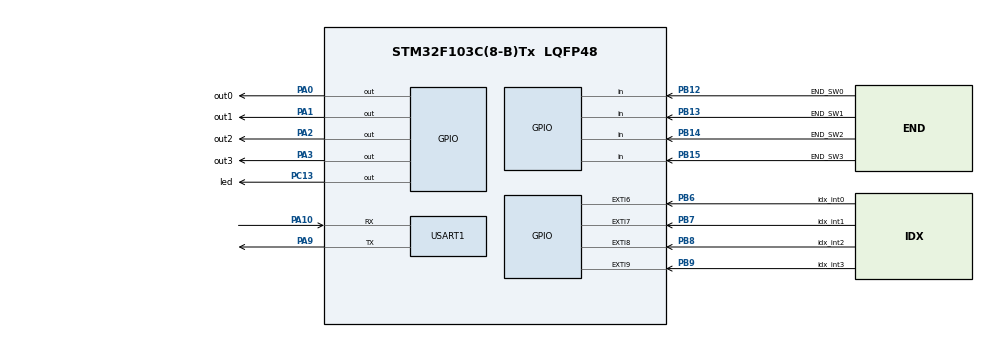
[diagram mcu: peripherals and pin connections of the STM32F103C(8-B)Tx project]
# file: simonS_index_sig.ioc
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Mcu.Family=STM32F1
Mcu.Name=STM32F103C(8-B)Tx
Mcu.Package=LQFP48
Mcu.UserConstants=TIM2_CNT,99
NVIC.EXTI9_5_IRQn=true\:0\:0\:false\:false\:true\:true\:true
NVIC.PriorityGroup=NVIC_PRIORITYGROUP_4
NVIC.TIM2_IRQn=true\:0\:0\:false\:false\:true\:true\:true
NVIC.USART1_IRQn=true\:0\:0\:false\:false\:true\:true\:true
PA0-WKUP.GPIO_Label=out0
PA0-WKUP.Signal=GPIO_Output
PA1.GPIO_Label=out1
PA1.Signal=GPIO_Output
PA10.Mode=Asynchronous
PA10.Signal=USART1_RX
PA13.Mode=Serial_Wire
PA13.Signal=SYS_JTMS-SWDIO
PA14.Mode=Serial_Wire
PA14.Signal=SYS_JTCK-SWCLK
PA2.GPIO_Label=out2
PA2.Signal=GPIO_Output
PA3.GPIO_Label=out3
PA3.Signal=GPIO_Output
PA9.Mode=Asynchronous
PA9.Signal=USART1_TX
PB12.GPIO_Label=END_SW0
PB12.GPIO_PuPd=GPIO_PULLUP
PB12.Signal=GPIO_Input
PB13.GPIO_Label=END_SW1
PB13.GPIO_PuPd=GPIO_PULLUP
PB13.Signal=GPIO_Input
PB14.GPIO_Label=END_SW2
PB14.GPIO_PuPd=GPIO_PULLUP
PB14.Signal=GPIO_Input
PB15.GPIO_Label=END_SW3
PB15.GPIO_PuPd=GPIO_PULLUP
PB15.Signal=GPIO_Input
PB6.GPIO_Label=idx_int0
PB6.GPIO_ModeDefaultEXTI=GPIO_MODE_IT_FALLING
PB6.GPIO_PuPd=GPIO_PULLUP
PB6.Signal=GPXTI6
PB7.GPIO_Label=idx_int1
PB7.GPIO_ModeDefaultEXTI=GPIO_MODE_IT_FALLING
PB7.GPIO_PuPd=GPIO_PULLUP
PB7.Signal=GPXTI7
PB8.GPIO_Label=idx_int2
PB8.GPIO_ModeDefaultEXTI=GPIO_MODE_IT_FALLING
PB8.GPIO_PuPd=GPIO_PULLUP
PB8.Signal=GPXTI8
PB9.GPIO_Label=idx_int3
PB9.GPIO_ModeDefaultEXTI=GPIO_MODE_IT_FALLING
PB9.GPIO_PuPd=GPIO_PULLUP
PB9.Signal=GPXTI9
PC13-TAMPER-RTC.GPIO_Label=led
PC13-TAMPER-RTC.GPIO_ModeDefaultOutputPP=GPIO_MODE_OUTPUT_OD
PC13-TAMPER-RTC.Signal=GPIO_Output
PD0-OSC_IN.Mode=HSE-External-Oscillator
PD0-OSC_IN.Signal=RCC_OSC_IN
PD1-OSC_OUT.Mode=HSE-External-Oscillator
PD1-OSC_OUT.Signal=RCC_OSC_OUT
ProjectManager.HeapSize=0x200
ProjectManager.StackSize=0x400
ProjectManager.TargetToolchain=TrueSTUDIO
RCC.APB1Freq_Value=8000000
RCC.APB2Freq_Value=8000000
RCC.SYSCLKSource=RCC_SYSCLKSOURCE_HSE
TIM2.AutoReloadPreload=TIM_AUTORELOAD_PRELOAD_ENABLE
TIM2.Period=TIM2_CNT
TIM2.Prescaler=7
USART1.VirtualMode=VM_ASYNC
VP_TIM2_VS_ClockSourceINT.Mode=Internal
board=custom

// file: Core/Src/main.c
/* USER CODE BEGIN Header */
/**
  ******************************************************************************
  * @file           : main.c
  * @brief          : Main program body
  ******************************************************************************
  ** This notice applies to any and all portions of this file
  * that are not between comment pairs USER CODE BEGIN and
  * USER CODE END. Other portions of this file, whether
  * inserted by the user or by software development tools
  * are owned by their respective copyright owners.
  *
  * COPYRIGHT(c) 2019 STMicroelectronics
  *
  * Redistribution and use in source and binary forms, with or without modification,
  * are permitted provided that the following conditions are met:
  *   1. Redistributions of source code must retain the above copyright notice,
  *      this list of conditions and the following disclaimer.
  *   2. Redistributions in binary form must reproduce the above copyright notice,
  *      this list of conditions and the following disclaimer in the documentation
  *      and/or other materials provided with the distribution.
  *   3. Neither the name of STMicroelectronics nor the names of its contributors
  *      may be used to endorse or promote products derived from this software
  *      without specific prior written permission.
  *
  * THIS SOFTWARE IS PROVIDED BY THE COPYRIGHT HOLDERS AND CONTRIBUTORS "AS IS"
  * AND ANY EXPRESS OR IMPLIED WARRANTIES, INCLUDING, BUT NOT LIMITED TO, THE
  * IMPLIED WARRANTIES OF MERCHANTABILITY AND FITNESS FOR A PARTICULAR PURPOSE ARE
  * DISCLAIMED. IN NO EVENT SHALL THE COPYRIGHT HOLDER OR CONTRIBUTORS BE LIABLE
  * FOR ANY DIRECT, INDIRECT, INCIDENTAL, SPECIAL, EXEMPLARY, OR CONSEQUENTIAL
  * DAMAGES (INCLUDING, BUT NOT LIMITED TO, PROCUREMENT OF SUBSTITUTE GOODS OR
  * SERVICES; LOSS OF USE, DATA, OR PROFITS; OR BUSINESS INTERRUPTION) HOWEVER
  * CAUSED AND ON ANY THEORY OF LIABILITY, WHETHER IN CONTRACT, STRICT LIABILITY,
  * OR TORT (INCLUDING NEGLIGENCE OR OTHERWISE) ARISING IN ANY WAY OUT OF THE USE
  * OF THIS SOFTWARE, EVEN IF ADVISED OF THE POSSIBILITY OF SUCH DAMAGE.
  *
  ******************************************************************************
  */
/* USER CODE END Header */

#include "main.h"
#include "tim.h"
#include "usart.h"
#include "gpio.h"

/* USER CODE BEGIN Includes */
//#include "sw_timer.h"
#include "num_str_convert.h"
#include <string.h>

/* USER CODE END Includes */

/* USER CODE BEGIN PV */
static uint8_t const uart_test_msg[] = "hello indexFind: \n\r";
static uint8_t const uart_msg_err_cmd2long[] = " $Err:cmd to long: \n\r";

static sw_timer_t xTaskTimer;
static sw_timer_t xLed_tm;

/* USER CODE END PV */

void SystemClock_Config(void);
/* USER CODE BEGIN PFP */

void blink_onboard_led(uint32_t time_ms);
void led_tm_cb(void);

void taskTimer_cb(void);

void ch0_swTmr_cb(void);
void ch1_swTmr_cb(void);
void ch2_swTmr_cb(void);
void ch3_swTmr_cb(void);

//void handle_sensors(index_ch_desc_t *index_ch_desc);

/* USER CODE END PFP */

/* USER CODE BEGIN 0 */

typedef struct _gpio_io_desc_t
{
    GPIO_TypeDef    *port;
    uint16_t        pin;
}gpio_io_desc_t;

typedef enum{
    IDLE,
    WAIT_IDX
}idx_ch_stateMchn_t;

struct _idx_ch_desc_t
{
    uint8_t             ch_name[15];
    gpio_io_desc_t      gpio_io_input;
    gpio_io_desc_t      gpio_io_out;
    idx_ch_stateMchn_t  stateMchine;
    sw_timer_t          swtimer;
    uint32_t            delayTm;
    void(*sw_tmr_cb)(void);
}idx_ch_array[] = {
    {
        "ch_0",
        {END_SW0_GPIO_Port, END_SW0_Pin},
        {out0_GPIO_Port, out0_Pin},
        IDLE,
        {0},
        DELAY_AFTER_IDX_CH0,
        &ch0_swTmr_cb
    },
    {
        "ch_1",
        {END_SW1_GPIO_Port, END_SW1_Pin},
        {out1_GPIO_Port, out1_Pin},
        IDLE,
        {0},
        DELAY_AFTER_IDX_CH1,
        &ch1_swTmr_cb
    },
    {
        "ch_2",
        {END_SW2_GPIO_Port, END_SW2_Pin},
        {out2_GPIO_Port, out2_Pin},
        IDLE,
        {0},
        DELAY_AFTER_IDX_CH2,
        &ch2_swTmr_cb
    },
    {
        "ch_3",
        {END_SW3_GPIO_Port, END_SW3_Pin},
        {out3_GPIO_Port, out3_Pin},
        IDLE,
        {0},
        DELAY_AFTER_IDX_CH3,
        &ch3_swTmr_cb
    }
};

typedef enum{
    SM_RX_IDLE,
    SM_RX_RECEIVE,
    SM_RX_EXE,  // @todo remove: a the moment redundant state
}SM_Rx_sm_enum_t;

struct _SM_Rx_desc_t{
    SM_Rx_sm_enum_t state;
    uint8_t Rx_buff[RX_CMD_BUFF_SIZE];
    uint8_t Rx_cnt;
    uint8_t Rx_char;
}SM_Rx = {
    SM_RX_IDLE,
    {0},
    0,
    0
};

void handle_channels(struct _idx_ch_desc_t *ch);
void SM_goToIdle(struct _idx_ch_desc_t *ch);

void TASK_serial_cmd_decode(void);

void taskTimer_cb(void) {

    #if ( DEBUG_LED_HEART_BEAT_EN == 1)
        HAL_GPIO_TogglePin(led_GPIO_Port, led_Pin);
    #endif

    #if ( DEBUG_MSG_ENABLE == 1 )
        /* debug */
        HAL_UART_Transmit_IT(&huart1, uart_test_msg, sizeof(uart_test_msg));
    #endif
    /* set timer for new cycle */
    swTimer.set(&xTaskTimer, TASK_PERIODE);
}

void blink_onboard_led(uint32_t time_ms) {

    HAL_GPIO_WritePin(led_GPIO_Port, led_Pin, LED_SET);

    swTimer.set(&xLed_tm, time_ms);
}

void led_tm_cb(void) {
    HAL_GPIO_WritePin(led_GPIO_Port, led_Pin, LED_RESET);
}

void HAL_TIM_PeriodElapsedCallback(TIM_HandleTypeDef *htim) {
    /* drive software timers: resolition is 0.1 ms */
    swTimer_tick();
}

void HAL_GPIO_EXTI_Callback(uint16_t GPIO_Pin) {
    /* test external interrupt */
    static uint8_t ext_int_msg[15] = {0};
    static uint8_t pinNum_str[6] = {0};

    struct _idx_ch_desc_t *p_ch;

    switch (GPIO_Pin)
    {
        case idx_int0_Pin:
        {
            #if ( DEBUG_MSG_ENABLE == 1 )
                /* #debug */
                strcpy(pinNum_str, "int_0");
            #endif
            p_ch = &idx_ch_array[0];
            break;
        }
        case idx_int1_Pin:
        {
            #if ( DEBUG_MSG_ENABLE == 1 )
                /* #debug */
                strcpy(pinNum_str, "int_1");
            #endif
            p_ch = &idx_ch_array[1];
            break;
        }
        case idx_int2_Pin:
        {
            #if ( DEBUG_MSG_ENABLE == 1 )
                /* #debug */
                strcpy(pinNum_str, "int_2");
            #endif
            p_ch = &idx_ch_array[2];
            break;
        }
        case idx_int3_Pin:
        {
            #if ( DEBUG_MSG_ENABLE == 1 )
                /* #debug */
                strcpy(pinNum_str, "int_3");
            #endif
            p_ch = &idx_ch_array[3];
            break;
        }
        default:
        {
            p_ch = &idx_ch_array[0];
            assert(0);
            break;
        }
    }

    swTimer.set(&p_ch->swtimer, p_ch->delayTm);

    //==========================================================================
    #if ( DEBUG_MSG_ENABLE == 1 )
        /* #debug */
        strcpy(ext_int_msg, "Pin: ");
        //num2str(i, pinNum_str);
        strcat(ext_int_msg, pinNum_str);
        strcat(ext_int_msg, "\n\r");

        HAL_UART_Transmit_IT(&huart1, ext_int_msg, sizeof(ext_int_msg));
    #endif
    //==========================================================================

}

/* USER CODE END 0 */

int main(void)
{
  /* USER CODE BEGIN 1 */

    static uint32_t tick_old = 0;
    uint8_t nCh = 0;

  /* USER CODE END 1 */

  /* MCU Configuration--------------------------------------------------------*/

  /* Reset of all peripherals, Initializes the Flash interface and the Systick. */
  HAL_Init();

  /* USER CODE BEGIN Init */

    /* set application heartBeat and serial debug printout task */
    swTimer_init(&xTaskTimer);
    swTimer.attach_callBack(&xTaskTimer, taskTimer_cb);
    swTimer.set(&xTaskTimer, TASK_PERIODE);

    /* sw timer that control how long will led be on */
    swTimer_init(&xLed_tm);
    swTimer.attach_callBack(&xLed_tm, led_tm_cb);

    /* calculate numner of channels used in application */
    nCh = sizeof(idx_ch_array)/sizeof(idx_ch_array[0]);

  /* USER CODE END Init */

  /* Configure the system clock */
  SystemClock_Config();

  /* Initialize all configured peripherals */
  MX_GPIO_Init();
  MX_USART1_UART_Init();
  MX_TIM2_Init();
  /* USER CODE BEGIN 2 */
  HAL_TIM_Base_Start_IT(&htim2);

  swTimer_init(&idx_ch_array[0].swtimer);
  swTimer_init(&idx_ch_array[1].swtimer);
  swTimer_init(&idx_ch_array[2].swtimer);
  swTimer_init(&idx_ch_array[3].swtimer);

  swTimer.attach_callBack(&idx_ch_array[0].swtimer, idx_ch_array[0].sw_tmr_cb);
  swTimer.attach_callBack(&idx_ch_array[1].swtimer, idx_ch_array[1].sw_tmr_cb);
  swTimer.attach_callBack(&idx_ch_array[2].swtimer, idx_ch_array[2].sw_tmr_cb);
  swTimer.attach_callBack(&idx_ch_array[3].swtimer, idx_ch_array[3].sw_tmr_cb);

  /* enable Serial receive */
  HAL_UART_Receive_IT(&huart1, &SM_Rx.Rx_char, 1);

  /* USER CODE END 2 */

  /* Infinite loop */
    while (1)
    {

    /* USER CODE BEGIN 3 */
        if( (HAL_GetTick() - tick_old) > CH_PULL_READ_PER){
            uint8_t i = 0;

            /* channels polling read of limit switches */
            for(;i < nCh; ++i) {
                handle_channels(&idx_ch_array[i]);
            }

            tick_old = HAL_GetTick();
        }
    }
  /* USER CODE END 3 */
}

void SystemClock_Config(void)
{
  RCC_OscInitTypeDef RCC_OscInitStruct = {0};
  RCC_ClkInitTypeDef RCC_ClkInitStruct = {0};

  /** Initializes the CPU, AHB and APB busses clocks
  */
  RCC_OscInitStruct.OscillatorType = RCC_OSCILLATORTYPE_HSE;
  RCC_OscInitStruct.HSEState = RCC_HSE_ON;
  RCC_OscInitStruct.PLL.PLLState = RCC_PLL_NONE;
  if (HAL_RCC_OscConfig(&RCC_OscInitStruct) != HAL_OK)
  {
    Error_Handler();
  }
  /** Initializes the CPU, AHB and APB busses clocks
  */
  RCC_ClkInitStruct.ClockType = RCC_CLOCKTYPE_HCLK|RCC_CLOCKTYPE_SYSCLK
                              |RCC_CLOCKTYPE_PCLK1|RCC_CLOCKTYPE_PCLK2;
  RCC_ClkInitStruct.SYSCLKSource = RCC_SYSCLKSOURCE_HSE;
  RCC_ClkInitStruct.AHBCLKDivider = RCC_SYSCLK_DIV1;
  RCC_ClkInitStruct.APB1CLKDivider = RCC_HCLK_DIV1;
  RCC_ClkInitStruct.APB2CLKDivider = RCC_HCLK_DIV1;

  if (HAL_RCC_ClockConfig(&RCC_ClkInitStruct, FLASH_LATENCY_0) != HAL_OK)
  {
    Error_Handler();
  }
}

/* USER CODE BEGIN 4 */

void TASK_serial_cmd_decode(void) {

}

void handle_channels(struct _idx_ch_desc_t *ch){
    uint32_t limit_sw_state = 0;

    limit_sw_state = HAL_GPIO_ReadPin(ch->gpio_io_input.port, ch->gpio_io_input.pin);
    if(limit_sw_state == INPUT_ON && ch->stateMchine == IDLE){
        ch->stateMchine = WAIT_IDX;
        /*set output; external interrupt will set off channel ! */
        HAL_GPIO_WritePin(ch->gpio_io_out.port, ch->gpio_io_out.pin, GPIO_PIN_SET);
    }
}

//=========================================================
/* software timers callback functions */
void ch0_swTmr_cb(void){
    struct _idx_ch_desc_t *ch = &idx_ch_array[0];

    HAL_GPIO_WritePin(ch->gpio_io_out.port, ch->gpio_io_out.pin, GPIO_PIN_RESET);
    SM_goToIdle(ch);
}

void ch1_swTmr_cb(void){
    struct _idx_ch_desc_t *ch = &idx_ch_array[1];

    HAL_GPIO_WritePin(ch->gpio_io_out.port, ch->gpio_io_out.pin, GPIO_PIN_RESET);
    SM_goToIdle(ch);
}

void ch2_swTmr_cb(void){
    struct _idx_ch_desc_t *ch = &idx_ch_array[2];

    HAL_GPIO_WritePin(ch->gpio_io_out.port, ch->gpio_io_out.pin, GPIO_PIN_RESET);
    SM_goToIdle(ch);
}

void ch3_swTmr_cb(void){
    struct _idx_ch_desc_t *ch = &idx_ch_array[3];

    HAL_GPIO_WritePin(ch->gpio_io_out.port, ch->gpio_io_out.pin, GPIO_PIN_RESET);
    SM_goToIdle(ch);
}

//=========================================================

void SM_goToIdle(struct _idx_ch_desc_t *ch) {
    HAL_GPIO_WritePin(ch->gpio_io_out.port, ch->gpio_io_out.pin, GPIO_PIN_RESET);
    ch->stateMchine = IDLE;
}

void Rx_cmd_decode(struct _SM_Rx_desc_t *SM_Rx){
    uint8_t *p_str = &SM_Rx->Rx_buff[0];
    uint8_t ch_sel = 0;
    int32_t delay_val = 0;
    static uint8_t ack_msg[10] = {0};
    uint8_t ack_msg_size = 0;

    if(p_str[0] == 'c'){
        if(p_str[1] >= '0' && p_str[1] <= '3') {
            ch_sel = p_str[1] - '0';
            if(str2num(&p_str[3], &delay_val) == 0) {
                /* value is number OK*/
                /* @todo in final version this need to be written into NVM */
                idx_ch_array[ch_sel].delayTm = delay_val;
                /*#debug*/
                blink_onboard_led(1000);
                /* #debug message */
                num2str(delay_val, ack_msg);
                ack_msg_size = strlen(ack_msg);
                ack_msg[++ack_msg_size] = '\n';
                HAL_UART_Transmit_IT(&huart1, ack_msg, ack_msg_size);
            }else {
                /* value is NaN error*/
            }
        }else{
            /* channel select error */
        }
    }else{
        /* command error */
    }
}
//idx_ch_array

void HAL_UART_RxCpltCallback(UART_HandleTypeDef *huart) {

    switch (SM_Rx.state) {
        case SM_RX_IDLE:
        {
            SM_Rx.state = SM_RX_RECEIVE;
            SM_Rx.Rx_buff[SM_Rx.Rx_cnt++] = SM_Rx.Rx_char;
            break;
        }
        case SM_RX_RECEIVE:
        {

            if(SM_Rx.Rx_cnt >= RX_CMD_BUFF_SIZE) {
                /* Rx cmd buffer overflow error go to idle inform user */
                HAL_UART_Transmit_IT(&huart1, uart_msg_err_cmd2long, sizeof(uart_msg_err_cmd2long));
                SM_Rx.Rx_cnt = 0;
                SM_Rx.state = SM_RX_IDLE;
                break;
            }

            /* check for temination character */
            if(SM_Rx.Rx_char == '\r') {
                /* decode */
                SM_Rx.Rx_buff[SM_Rx.Rx_cnt] = 0x00; // zero terminate the string
                Rx_cmd_decode(&SM_Rx);
                /* return to idle state */
                SM_Rx.Rx_cnt = 0;
                SM_Rx.state = SM_RX_IDLE;

            }else{
                SM_Rx.Rx_buff[SM_Rx.Rx_cnt++] = SM_Rx.Rx_char;
            }
            break;
        }
    }

    HAL_UART_Receive_IT(&huart1, &SM_Rx.Rx_char, 1);
}

/* USER CODE END 4 */

void Error_Handler(void)
{
}

/************************ (C) COPYRIGHT STMicroelectronics *****END OF FILE****/
